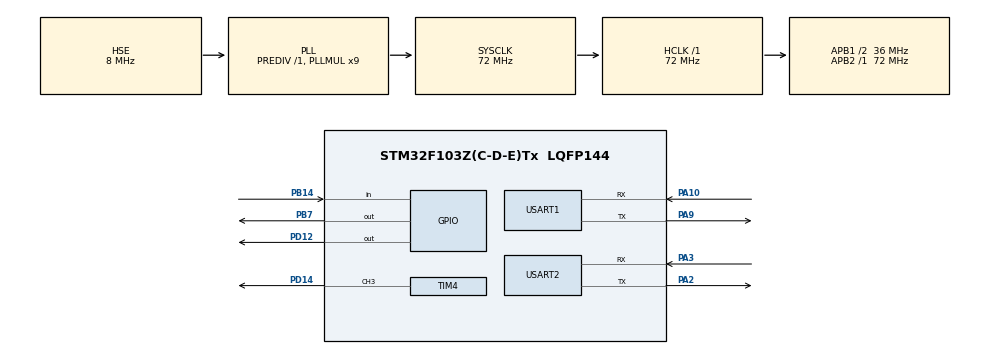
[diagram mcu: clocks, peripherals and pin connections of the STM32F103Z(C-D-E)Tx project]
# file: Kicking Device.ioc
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Dma.Request0=USART2_RX
Dma.Request1=USART2_TX
Dma.Request2=USART1_TX
Dma.Request3=TIM4_CH3
Dma.TIM4_CH3.3.Direction=DMA_MEMORY_TO_PERIPH
Dma.TIM4_CH3.3.Instance=DMA1_Channel5
Dma.TIM4_CH3.3.MemDataAlignment=DMA_MDATAALIGN_HALFWORD
Dma.TIM4_CH3.3.MemInc=DMA_MINC_ENABLE
Dma.TIM4_CH3.3.Mode=DMA_NORMAL
Dma.TIM4_CH3.3.PeriphDataAlignment=DMA_PDATAALIGN_HALFWORD
Dma.TIM4_CH3.3.PeriphInc=DMA_PINC_DISABLE
Dma.TIM4_CH3.3.Priority=DMA_PRIORITY_LOW
Dma.USART1_TX.2.Direction=DMA_MEMORY_TO_PERIPH
Dma.USART1_TX.2.Instance=DMA1_Channel4
Dma.USART1_TX.2.MemDataAlignment=DMA_MDATAALIGN_BYTE
Dma.USART1_TX.2.MemInc=DMA_MINC_ENABLE
Dma.USART1_TX.2.Mode=DMA_NORMAL
Dma.USART1_TX.2.PeriphDataAlignment=DMA_PDATAALIGN_BYTE
Dma.USART1_TX.2.PeriphInc=DMA_PINC_DISABLE
Dma.USART1_TX.2.Priority=DMA_PRIORITY_LOW
Dma.USART2_RX.0.Direction=DMA_PERIPH_TO_MEMORY
Dma.USART2_RX.0.Instance=DMA1_Channel6
Dma.USART2_RX.0.MemDataAlignment=DMA_MDATAALIGN_BYTE
Dma.USART2_RX.0.MemInc=DMA_MINC_ENABLE
Dma.USART2_RX.0.Mode=DMA_NORMAL
Dma.USART2_RX.0.PeriphDataAlignment=DMA_PDATAALIGN_BYTE
Dma.USART2_RX.0.PeriphInc=DMA_PINC_DISABLE
Dma.USART2_RX.0.Priority=DMA_PRIORITY_LOW
Dma.USART2_TX.1.Direction=DMA_MEMORY_TO_PERIPH
Dma.USART2_TX.1.Instance=DMA1_Channel7
Dma.USART2_TX.1.MemDataAlignment=DMA_MDATAALIGN_BYTE
Dma.USART2_TX.1.MemInc=DMA_MINC_ENABLE
Dma.USART2_TX.1.Mode=DMA_NORMAL
Dma.USART2_TX.1.PeriphDataAlignment=DMA_PDATAALIGN_BYTE
Dma.USART2_TX.1.PeriphInc=DMA_PINC_DISABLE
Dma.USART2_TX.1.Priority=DMA_PRIORITY_LOW
Mcu.Family=STM32F1
Mcu.Name=STM32F103Z(C-D-E)Tx
Mcu.Package=LQFP144
NVIC.DMA1_Channel4_IRQn=true\:0\:0\:false\:false\:true\:false\:true\:true
NVIC.DMA1_Channel5_IRQn=true\:0\:0\:false\:false\:true\:false\:true\:true
NVIC.DMA1_Channel6_IRQn=true\:0\:0\:false\:false\:true\:false\:true\:true
NVIC.DMA1_Channel7_IRQn=true\:0\:0\:false\:false\:true\:false\:true\:true
NVIC.PriorityGroup=NVIC_PRIORITYGROUP_4
NVIC.TIM4_IRQn=true\:0\:0\:false\:false\:true\:true\:true\:true
NVIC.USART1_IRQn=true\:0\:0\:false\:false\:true\:false\:true\:true
NVIC.USART2_IRQn=true\:0\:0\:false\:false\:true\:false\:true\:true
OSC_IN.Mode=HSE-External-Oscillator
OSC_IN.Signal=RCC_OSC_IN
OSC_OUT.Mode=HSE-External-Oscillator
OSC_OUT.Signal=RCC_OSC_OUT
PA10.Mode=Asynchronous
PA10.Signal=USART1_RX
PA13.Mode=Serial_Wire
PA13.Signal=SYS_JTMS-SWDIO
PA14.Mode=Serial_Wire
PA14.Signal=SYS_JTCK-SWCLK
PA2.Mode=Asynchronous
PA2.Signal=USART2_TX
PA3.Mode=Asynchronous
PA3.Signal=USART2_RX
PA9.Mode=Asynchronous
PA9.Signal=USART1_TX
PB14.Signal=GPIO_Input
PB7.GPIO_PuPd=GPIO_PULLUP
PB7.GPIO_Speed=GPIO_SPEED_FREQ_HIGH
PB7.PinState=GPIO_PIN_SET
PB7.Signal=GPIO_Output
PD12.GPIO_PuPd=GPIO_PULLUP
PD12.Signal=GPIO_Output
PD14.GPIO_ModeDefaultPP=GPIO_MODE_AF_PP
PD14.GPIO_Speed=GPIO_SPEED_FREQ_HIGH
PD14.Signal=S_TIM4_CH3
ProjectManager.HeapSize=0x200
ProjectManager.StackSize=0x400
ProjectManager.TargetToolchain=MDK-ARM V5.32
RCC.AHBFreq_Value=72000000
RCC.APB1CLKDivider=RCC_HCLK_DIV2
RCC.APB1Freq_Value=36000000
RCC.APB1TimFreq_Value=72000000
RCC.APB2Freq_Value=72000000
RCC.APB2TimFreq_Value=72000000
RCC.HCLKFreq_Value=72000000
RCC.PLLMUL=RCC_PLL_MUL9
RCC.PLLSourceVirtual=RCC_PLLSOURCE_HSE
RCC.SYSCLKFreq_VALUE=72000000
RCC.SYSCLKSource=RCC_SYSCLKSOURCE_PLLCLK
RCC.USBFreq_Value=72000000
SH.S_TIM4_CH3.0=TIM4_CH3,PWM Generation3 CH3
TIM4.AutoReloadPreload=TIM_AUTORELOAD_PRELOAD_ENABLE
TIM4.Channel-PWM\ Generation3\ CH3=TIM_CHANNEL_3
TIM4.Period=90-1
USART1.VirtualMode=VM_ASYNC
USART2.VirtualMode=VM_ASYNC
VP_TIM4_VS_ClockSourceINT.Mode=Internal
board=custom

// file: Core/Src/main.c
/* USER CODE BEGIN Header */
/**
  ******************************************************************************
  * @file           : main.c
  * @brief          : Main program body
  ******************************************************************************
  * @attention
  *
  * Copyright (c) 2026 STMicroelectronics.
  * All rights reserved.
  *
  * This software is licensed under terms that can be found in the LICENSE file
  * in the root directory of this software component.
  * If no LICENSE file comes with this software, it is provided AS-IS.
  *
  ******************************************************************************
  */
/* USER CODE END Header */
#include "main.h"
#include "dma.h"
#include "tim.h"
#include "usart.h"
#include "gpio.h"

/* USER CODE BEGIN Includes */
#include "bsp_beep.h"
#include "bsp_key.h"
//#include "bsp_motor.h"
#include "bsp_ws2812.h"
#include "bsp_imu.h"
#include "kick_detect.h"
/* USER CODE END Includes */

/* USER CODE BEGIN PV */
static uint32_t last_key_update_tick = 0;
/* USER CODE END PV */

void SystemClock_Config(void);

int main(void)
{

  /* MCU Configuration--------------------------------------------------------*/

  /* Reset of all peripherals, Initializes the Flash interface and the Systick. */
  HAL_Init();

  /* Configure the system clock */
  SystemClock_Config();

  /* Initialize all configured peripherals */
  MX_GPIO_Init();
  MX_DMA_Init();
  MX_TIM4_Init();
  MX_USART1_UART_Init();
  MX_USART2_UART_Init();
  /* USER CODE BEGIN 2 */

  /* ---- BSP layer initialization ---- */
//  BSP_Motor_Init();
  BSP_WS2812_Init();
  BSP_Key_Init();
  BSP_IMU_Init();
	BSP_WS2812_Green();
//  /* ---- Algorithm ---- */
  KickDetect_Init();

  BSP_Beep_Short();   /* 初始化完成提示 */
  /* USER CODE END 2 */

  /* Infinite loop */
  while (1)
  {

    /* USER CODE BEGIN 3 */
		BSP_Beep_Process();

    if ((HAL_GetTick() - last_key_update_tick) >= 10U)
    {
        last_key_update_tick = HAL_GetTick();
        BSP_Key_Update();
        if (BSP_Key_Read() == KEY_STATE_PRESSED) KickDetect_StartInit();
    }
    KickDetect_Process();
	}
  /* USER CODE END 3 */
}

void SystemClock_Config(void)
{
  RCC_OscInitTypeDef RCC_OscInitStruct = {0};
  RCC_ClkInitTypeDef RCC_ClkInitStruct = {0};

  /** Initializes the RCC Oscillators according to the specified parameters
  * in the RCC_OscInitTypeDef structure.
  */
  RCC_OscInitStruct.OscillatorType = RCC_OSCILLATORTYPE_HSE;
  RCC_OscInitStruct.HSEState = RCC_HSE_ON;
  RCC_OscInitStruct.HSEPredivValue = RCC_HSE_PREDIV_DIV1;
  RCC_OscInitStruct.HSIState = RCC_HSI_ON;
  RCC_OscInitStruct.PLL.PLLState = RCC_PLL_ON;
  RCC_OscInitStruct.PLL.PLLSource = RCC_PLLSOURCE_HSE;
  RCC_OscInitStruct.PLL.PLLMUL = RCC_PLL_MUL9;
  if (HAL_RCC_OscConfig(&RCC_OscInitStruct) != HAL_OK)
  {
    Error_Handler();
  }

  /** Initializes the CPU, AHB and APB buses clocks
  */
  RCC_ClkInitStruct.ClockType = RCC_CLOCKTYPE_HCLK|RCC_CLOCKTYPE_SYSCLK
                              |RCC_CLOCKTYPE_PCLK1|RCC_CLOCKTYPE_PCLK2;
  RCC_ClkInitStruct.SYSCLKSource = RCC_SYSCLKSOURCE_PLLCLK;
  RCC_ClkInitStruct.AHBCLKDivider = RCC_SYSCLK_DIV1;
  RCC_ClkInitStruct.APB1CLKDivider = RCC_HCLK_DIV2;
  RCC_ClkInitStruct.APB2CLKDivider = RCC_HCLK_DIV1;

  if (HAL_RCC_ClockConfig(&RCC_ClkInitStruct, FLASH_LATENCY_2) != HAL_OK)
  {
    Error_Handler();
  }
}

void Error_Handler(void)
{
  __disable_irq();
  while (1)
  {
  }
}
